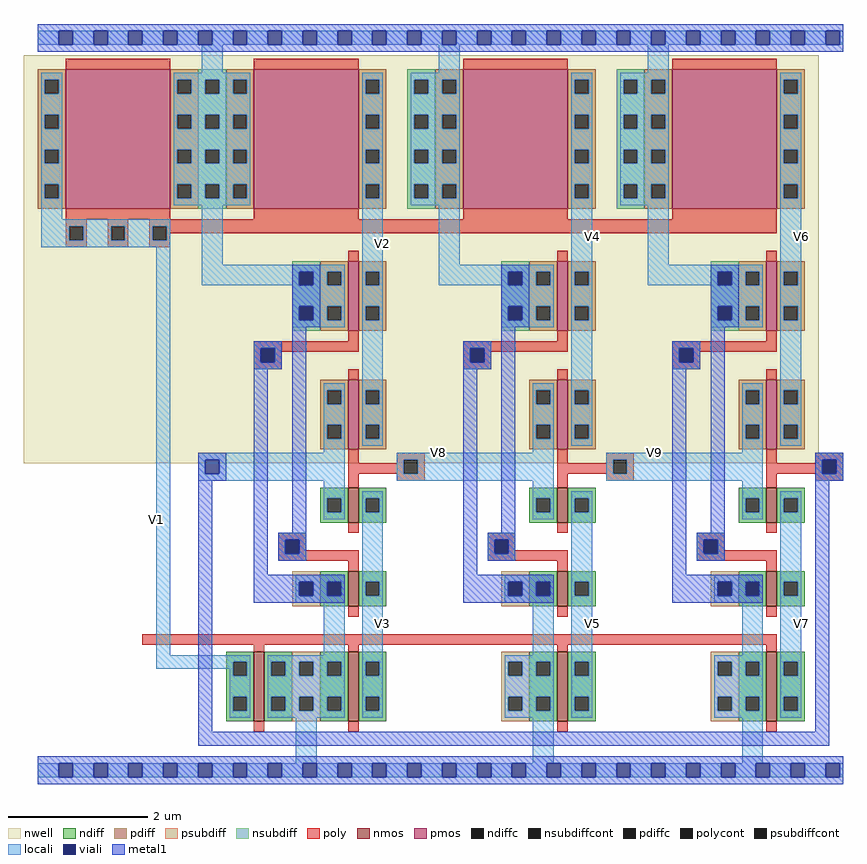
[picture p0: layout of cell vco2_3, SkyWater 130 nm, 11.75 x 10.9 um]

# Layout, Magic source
magic
tech sky130A
<< nwell >>
rect 1175 -5 2315 580
<< nmos >>
rect 1640 -90 1655 -40
rect 1940 -90 1955 -40
rect 2240 -90 2255 -40
rect 1640 -210 1655 -160
rect 1940 -210 1955 -160
rect 2240 -210 2255 -160
rect 1505 -375 1520 -275
rect 1640 -375 1655 -275
rect 1940 -375 1955 -275
rect 2240 -375 2255 -275
<< pmos >>
rect 1235 360 1385 560
rect 1505 360 1655 560
rect 1805 360 1955 560
rect 2105 360 2255 560
rect 1640 185 1655 285
rect 1940 185 1955 285
rect 2240 185 2255 285
rect 1640 15 1655 115
rect 1940 15 1955 115
rect 2240 15 2255 115
<< ndiff >>
rect 1600 -55 1640 -40
rect 1600 -75 1610 -55
rect 1630 -75 1640 -55
rect 1600 -90 1640 -75
rect 1655 -55 1695 -40
rect 1655 -75 1665 -55
rect 1685 -75 1695 -55
rect 1655 -90 1695 -75
rect 1900 -55 1940 -40
rect 1900 -75 1910 -55
rect 1930 -75 1940 -55
rect 1900 -90 1940 -75
rect 1955 -55 1995 -40
rect 1955 -75 1965 -55
rect 1985 -75 1995 -55
rect 1955 -90 1995 -75
rect 2200 -55 2240 -40
rect 2200 -75 2210 -55
rect 2230 -75 2240 -55
rect 2200 -90 2240 -75
rect 2255 -55 2295 -40
rect 2255 -75 2265 -55
rect 2285 -75 2295 -55
rect 2255 -90 2295 -75
rect 1600 -175 1640 -160
rect 1600 -195 1610 -175
rect 1630 -195 1640 -175
rect 1600 -210 1640 -195
rect 1655 -175 1695 -160
rect 1655 -195 1665 -175
rect 1685 -195 1695 -175
rect 1655 -210 1695 -195
rect 1900 -175 1940 -160
rect 1900 -195 1910 -175
rect 1930 -195 1940 -175
rect 1900 -210 1940 -195
rect 1955 -175 1995 -160
rect 1955 -195 1965 -175
rect 1985 -195 1995 -175
rect 1955 -210 1995 -195
rect 2200 -175 2240 -160
rect 2200 -195 2210 -175
rect 2230 -195 2240 -175
rect 2200 -210 2240 -195
rect 2255 -175 2295 -160
rect 2255 -195 2265 -175
rect 2285 -195 2295 -175
rect 2255 -210 2295 -195
rect 1465 -290 1505 -275
rect 1465 -310 1475 -290
rect 1495 -310 1505 -290
rect 1465 -340 1505 -310
rect 1465 -360 1475 -340
rect 1495 -360 1505 -340
rect 1465 -375 1505 -360
rect 1520 -290 1560 -275
rect 1600 -290 1640 -275
rect 1520 -310 1530 -290
rect 1550 -310 1560 -290
rect 1600 -310 1610 -290
rect 1630 -310 1640 -290
rect 1520 -340 1560 -310
rect 1600 -340 1640 -310
rect 1520 -360 1530 -340
rect 1550 -360 1560 -340
rect 1600 -360 1610 -340
rect 1630 -360 1640 -340
rect 1520 -375 1560 -360
rect 1600 -375 1640 -360
rect 1655 -290 1695 -275
rect 1655 -310 1665 -290
rect 1685 -310 1695 -290
rect 1655 -340 1695 -310
rect 1655 -360 1665 -340
rect 1685 -360 1695 -340
rect 1655 -375 1695 -360
rect 1900 -290 1940 -275
rect 1900 -310 1910 -290
rect 1930 -310 1940 -290
rect 1900 -340 1940 -310
rect 1900 -360 1910 -340
rect 1930 -360 1940 -340
rect 1900 -375 1940 -360
rect 1955 -290 1995 -275
rect 1955 -310 1965 -290
rect 1985 -310 1995 -290
rect 1955 -340 1995 -310
rect 1955 -360 1965 -340
rect 1985 -360 1995 -340
rect 1955 -375 1995 -360
rect 2200 -290 2240 -275
rect 2200 -310 2210 -290
rect 2230 -310 2240 -290
rect 2200 -340 2240 -310
rect 2200 -360 2210 -340
rect 2230 -360 2240 -340
rect 2200 -375 2240 -360
rect 2255 -290 2295 -275
rect 2255 -310 2265 -290
rect 2285 -310 2295 -290
rect 2255 -340 2295 -310
rect 2255 -360 2265 -340
rect 2285 -360 2295 -340
rect 2255 -375 2295 -360
<< pdiff >>
rect 1195 545 1235 560
rect 1195 525 1205 545
rect 1225 525 1235 545
rect 1195 495 1235 525
rect 1195 475 1205 495
rect 1225 475 1235 495
rect 1195 445 1235 475
rect 1195 425 1205 445
rect 1225 425 1235 445
rect 1195 395 1235 425
rect 1195 375 1205 395
rect 1225 375 1235 395
rect 1195 360 1235 375
rect 1385 545 1425 560
rect 1465 545 1505 560
rect 1385 525 1395 545
rect 1415 525 1425 545
rect 1465 525 1475 545
rect 1495 525 1505 545
rect 1385 495 1425 525
rect 1465 495 1505 525
rect 1385 475 1395 495
rect 1415 475 1425 495
rect 1465 475 1475 495
rect 1495 475 1505 495
rect 1385 445 1425 475
rect 1465 445 1505 475
rect 1385 425 1395 445
rect 1415 425 1425 445
rect 1465 425 1475 445
rect 1495 425 1505 445
rect 1385 395 1425 425
rect 1465 395 1505 425
rect 1385 375 1395 395
rect 1415 375 1425 395
rect 1465 375 1475 395
rect 1495 375 1505 395
rect 1385 360 1425 375
rect 1465 360 1505 375
rect 1655 545 1695 560
rect 1655 525 1665 545
rect 1685 525 1695 545
rect 1655 495 1695 525
rect 1655 475 1665 495
rect 1685 475 1695 495
rect 1655 445 1695 475
rect 1655 425 1665 445
rect 1685 425 1695 445
rect 1655 395 1695 425
rect 1655 375 1665 395
rect 1685 375 1695 395
rect 1655 360 1695 375
rect 1765 545 1805 560
rect 1765 525 1775 545
rect 1795 525 1805 545
rect 1765 495 1805 525
rect 1765 475 1775 495
rect 1795 475 1805 495
rect 1765 445 1805 475
rect 1765 425 1775 445
rect 1795 425 1805 445
rect 1765 395 1805 425
rect 1765 375 1775 395
rect 1795 375 1805 395
rect 1765 360 1805 375
rect 1955 545 1995 560
rect 1955 525 1965 545
rect 1985 525 1995 545
rect 1955 495 1995 525
rect 1955 475 1965 495
rect 1985 475 1995 495
rect 1955 445 1995 475
rect 1955 425 1965 445
rect 1985 425 1995 445
rect 1955 395 1995 425
rect 1955 375 1965 395
rect 1985 375 1995 395
rect 1955 360 1995 375
rect 2065 545 2105 560
rect 2065 525 2075 545
rect 2095 525 2105 545
rect 2065 495 2105 525
rect 2065 475 2075 495
rect 2095 475 2105 495
rect 2065 445 2105 475
rect 2065 425 2075 445
rect 2095 425 2105 445
rect 2065 395 2105 425
rect 2065 375 2075 395
rect 2095 375 2105 395
rect 2065 360 2105 375
rect 2255 545 2295 560
rect 2255 525 2265 545
rect 2285 525 2295 545
rect 2255 495 2295 525
rect 2255 475 2265 495
rect 2285 475 2295 495
rect 2255 445 2295 475
rect 2255 425 2265 445
rect 2285 425 2295 445
rect 2255 395 2295 425
rect 2255 375 2265 395
rect 2285 375 2295 395
rect 2255 360 2295 375
rect 1600 270 1640 285
rect 1600 250 1610 270
rect 1630 250 1640 270
rect 1600 220 1640 250
rect 1600 200 1610 220
rect 1630 200 1640 220
rect 1600 185 1640 200
rect 1655 270 1695 285
rect 1655 250 1665 270
rect 1685 250 1695 270
rect 1655 220 1695 250
rect 1655 200 1665 220
rect 1685 200 1695 220
rect 1655 185 1695 200
rect 1900 270 1940 285
rect 1900 250 1910 270
rect 1930 250 1940 270
rect 1900 220 1940 250
rect 1900 200 1910 220
rect 1930 200 1940 220
rect 1900 185 1940 200
rect 1955 270 1995 285
rect 1955 250 1965 270
rect 1985 250 1995 270
rect 1955 220 1995 250
rect 1955 200 1965 220
rect 1985 200 1995 220
rect 1955 185 1995 200
rect 2200 270 2240 285
rect 2200 250 2210 270
rect 2230 250 2240 270
rect 2200 220 2240 250
rect 2200 200 2210 220
rect 2230 200 2240 220
rect 2200 185 2240 200
rect 2255 270 2295 285
rect 2255 250 2265 270
rect 2285 250 2295 270
rect 2255 220 2295 250
rect 2255 200 2265 220
rect 2285 200 2295 220
rect 2255 185 2295 200
rect 1600 100 1640 115
rect 1600 80 1610 100
rect 1630 80 1640 100
rect 1600 50 1640 80
rect 1600 30 1610 50
rect 1630 30 1640 50
rect 1600 15 1640 30
rect 1655 100 1695 115
rect 1655 80 1665 100
rect 1685 80 1695 100
rect 1655 50 1695 80
rect 1655 30 1665 50
rect 1685 30 1695 50
rect 1655 15 1695 30
rect 1900 100 1940 115
rect 1900 80 1910 100
rect 1930 80 1940 100
rect 1900 50 1940 80
rect 1900 30 1910 50
rect 1930 30 1940 50
rect 1900 15 1940 30
rect 1955 100 1995 115
rect 1955 80 1965 100
rect 1985 80 1995 100
rect 1955 50 1995 80
rect 1955 30 1965 50
rect 1985 30 1995 50
rect 1955 15 1995 30
rect 2200 100 2240 115
rect 2200 80 2210 100
rect 2230 80 2240 100
rect 2200 50 2240 80
rect 2200 30 2210 50
rect 2230 30 2240 50
rect 2200 15 2240 30
rect 2255 100 2295 115
rect 2255 80 2265 100
rect 2285 80 2295 100
rect 2255 50 2295 80
rect 2255 30 2265 50
rect 2285 30 2295 50
rect 2255 15 2295 30
<< ndiffc >>
rect 1610 -75 1630 -55
rect 1665 -75 1685 -55
rect 1910 -75 1930 -55
rect 1965 -75 1985 -55
rect 2210 -75 2230 -55
rect 2265 -75 2285 -55
rect 1610 -195 1630 -175
rect 1665 -195 1685 -175
rect 1910 -195 1930 -175
rect 1965 -195 1985 -175
rect 2210 -195 2230 -175
rect 2265 -195 2285 -175
rect 1475 -310 1495 -290
rect 1475 -360 1495 -340
rect 1530 -310 1550 -290
rect 1610 -310 1630 -290
rect 1530 -360 1550 -340
rect 1610 -360 1630 -340
rect 1665 -310 1685 -290
rect 1665 -360 1685 -340
rect 1910 -310 1930 -290
rect 1910 -360 1930 -340
rect 1965 -310 1985 -290
rect 1965 -360 1985 -340
rect 2210 -310 2230 -290
rect 2210 -360 2230 -340
rect 2265 -310 2285 -290
rect 2265 -360 2285 -340
<< pdiffc >>
rect 1205 525 1225 545
rect 1205 475 1225 495
rect 1205 425 1225 445
rect 1205 375 1225 395
rect 1395 525 1415 545
rect 1475 525 1495 545
rect 1395 475 1415 495
rect 1475 475 1495 495
rect 1395 425 1415 445
rect 1475 425 1495 445
rect 1395 375 1415 395
rect 1475 375 1495 395
rect 1665 525 1685 545
rect 1665 475 1685 495
rect 1665 425 1685 445
rect 1665 375 1685 395
rect 1775 525 1795 545
rect 1775 475 1795 495
rect 1775 425 1795 445
rect 1775 375 1795 395
rect 1965 525 1985 545
rect 1965 475 1985 495
rect 1965 425 1985 445
rect 1965 375 1985 395
rect 2075 525 2095 545
rect 2075 475 2095 495
rect 2075 425 2095 445
rect 2075 375 2095 395
rect 2265 525 2285 545
rect 2265 475 2285 495
rect 2265 425 2285 445
rect 2265 375 2285 395
rect 1610 250 1630 270
rect 1610 200 1630 220
rect 1665 250 1685 270
rect 1665 200 1685 220
rect 1910 250 1930 270
rect 1910 200 1930 220
rect 1965 250 1985 270
rect 1965 200 1985 220
rect 2210 250 2230 270
rect 2210 200 2230 220
rect 2265 250 2285 270
rect 2265 200 2285 220
rect 1610 80 1630 100
rect 1610 30 1630 50
rect 1665 80 1685 100
rect 1665 30 1685 50
rect 1910 80 1930 100
rect 1910 30 1930 50
rect 1965 80 1985 100
rect 1965 30 1985 50
rect 2210 80 2230 100
rect 2210 30 2230 50
rect 2265 80 2285 100
rect 2265 30 2285 50
<< psubdiff >>
rect 1560 -175 1600 -160
rect 1560 -195 1570 -175
rect 1590 -195 1600 -175
rect 1560 -210 1600 -195
rect 1860 -175 1900 -160
rect 1860 -195 1870 -175
rect 1890 -195 1900 -175
rect 1860 -210 1900 -195
rect 2160 -175 2200 -160
rect 2160 -195 2170 -175
rect 2190 -195 2200 -175
rect 2160 -210 2200 -195
rect 1560 -290 1600 -275
rect 1560 -310 1570 -290
rect 1590 -310 1600 -290
rect 1560 -340 1600 -310
rect 1560 -360 1570 -340
rect 1590 -360 1600 -340
rect 1560 -375 1600 -360
rect 1860 -290 1900 -275
rect 1860 -310 1870 -290
rect 1890 -310 1900 -290
rect 1860 -340 1900 -310
rect 1860 -360 1870 -340
rect 1890 -360 1900 -340
rect 1860 -375 1900 -360
rect 2160 -290 2200 -275
rect 2160 -310 2170 -290
rect 2190 -310 2200 -290
rect 2160 -340 2200 -310
rect 2160 -360 2170 -340
rect 2190 -360 2200 -340
rect 2160 -375 2200 -360
<< nsubdiff >>
rect 1425 545 1465 560
rect 1425 525 1435 545
rect 1455 525 1465 545
rect 1425 495 1465 525
rect 1425 475 1435 495
rect 1455 475 1465 495
rect 1425 445 1465 475
rect 1425 425 1435 445
rect 1455 425 1465 445
rect 1425 395 1465 425
rect 1425 375 1435 395
rect 1455 375 1465 395
rect 1425 360 1465 375
rect 1725 545 1765 560
rect 1725 525 1735 545
rect 1755 525 1765 545
rect 1725 495 1765 525
rect 1725 475 1735 495
rect 1755 475 1765 495
rect 1725 445 1765 475
rect 1725 425 1735 445
rect 1755 425 1765 445
rect 1725 395 1765 425
rect 1725 375 1735 395
rect 1755 375 1765 395
rect 1725 360 1765 375
rect 2025 545 2065 560
rect 2025 525 2035 545
rect 2055 525 2065 545
rect 2025 495 2065 525
rect 2025 475 2035 495
rect 2055 475 2065 495
rect 2025 445 2065 475
rect 2025 425 2035 445
rect 2055 425 2065 445
rect 2025 395 2065 425
rect 2025 375 2035 395
rect 2055 375 2065 395
rect 2025 360 2065 375
rect 1560 270 1600 285
rect 1560 250 1570 270
rect 1590 250 1600 270
rect 1560 220 1600 250
rect 1560 200 1570 220
rect 1590 200 1600 220
rect 1560 185 1600 200
rect 1860 270 1900 285
rect 1860 250 1870 270
rect 1890 250 1900 270
rect 1860 220 1900 250
rect 1860 200 1870 220
rect 1890 200 1900 220
rect 1860 185 1900 200
rect 2160 270 2200 285
rect 2160 250 2170 270
rect 2190 250 2200 270
rect 2160 220 2200 250
rect 2160 200 2170 220
rect 2190 200 2200 220
rect 2160 185 2200 200
<< psubdiffcont >>
rect 1570 -195 1590 -175
rect 1870 -195 1890 -175
rect 2170 -195 2190 -175
rect 1570 -310 1590 -290
rect 1570 -360 1590 -340
rect 1870 -310 1890 -290
rect 1870 -360 1890 -340
rect 2170 -310 2190 -290
rect 2170 -360 2190 -340
<< nsubdiffcont >>
rect 1435 525 1455 545
rect 1435 475 1455 495
rect 1435 425 1455 445
rect 1435 375 1455 395
rect 1735 525 1755 545
rect 1735 475 1755 495
rect 1735 425 1755 445
rect 1735 375 1755 395
rect 2035 525 2055 545
rect 2035 475 2055 495
rect 2035 425 2055 445
rect 2035 375 2055 395
rect 1570 250 1590 270
rect 1570 200 1590 220
rect 1870 250 1890 270
rect 1870 200 1890 220
rect 2170 250 2190 270
rect 2170 200 2190 220
<< poly >>
rect 1235 560 1385 575
rect 1505 560 1655 575
rect 1805 560 1955 575
rect 2105 560 2255 575
rect 1235 345 1385 360
rect 1505 345 1655 360
rect 1805 345 1955 360
rect 2105 345 2255 360
rect 1235 335 1265 345
rect 1235 315 1240 335
rect 1260 315 1265 335
rect 1235 305 1265 315
rect 1295 335 1325 345
rect 1295 315 1300 335
rect 1320 315 1325 335
rect 1295 305 1325 315
rect 1355 335 2255 345
rect 1355 315 1360 335
rect 1380 325 2255 335
rect 1380 315 1385 325
rect 1355 305 1385 315
rect 1640 285 1655 300
rect 1940 285 1955 300
rect 2240 285 2255 300
rect 1640 170 1655 185
rect 1940 170 1955 185
rect 2240 170 2255 185
rect 1505 160 1655 170
rect 1505 140 1515 160
rect 1535 155 1655 160
rect 1805 160 1955 170
rect 1535 140 1545 155
rect 1505 130 1545 140
rect 1805 140 1815 160
rect 1835 155 1955 160
rect 2105 160 2255 170
rect 1835 140 1845 155
rect 1805 130 1845 140
rect 2105 140 2115 160
rect 2135 155 2255 160
rect 2135 140 2145 155
rect 2105 130 2145 140
rect 1640 115 1655 130
rect 1940 115 1955 130
rect 2240 115 2255 130
rect 1640 -5 1655 15
rect 1710 0 1750 10
rect 1710 -5 1720 0
rect 1640 -20 1720 -5
rect 1740 -20 1750 0
rect 1640 -40 1655 -20
rect 1710 -30 1750 -20
rect 1940 -5 1955 15
rect 2010 0 2050 10
rect 2010 -5 2020 0
rect 1940 -20 2020 -5
rect 2040 -20 2050 0
rect 1940 -40 1955 -20
rect 2010 -30 2050 -20
rect 2240 -5 2255 15
rect 2310 0 2350 10
rect 2310 -5 2320 0
rect 2240 -20 2320 -5
rect 2340 -20 2350 0
rect 2240 -40 2255 -20
rect 2310 -30 2350 -20
rect 1640 -105 1655 -90
rect 1940 -105 1955 -90
rect 2240 -105 2255 -90
rect 1540 -115 1580 -105
rect 1540 -135 1550 -115
rect 1570 -130 1580 -115
rect 1840 -115 1880 -105
rect 1570 -135 1655 -130
rect 1540 -145 1655 -135
rect 1840 -135 1850 -115
rect 1870 -130 1880 -115
rect 2140 -115 2180 -105
rect 1870 -135 1955 -130
rect 1840 -145 1955 -135
rect 2140 -135 2150 -115
rect 2170 -130 2180 -115
rect 2170 -135 2255 -130
rect 2140 -145 2255 -135
rect 1640 -160 1655 -145
rect 1940 -160 1955 -145
rect 2240 -160 2255 -145
rect 1640 -225 1655 -210
rect 1940 -225 1955 -210
rect 2240 -225 2255 -210
rect 1345 -265 2255 -250
rect 1505 -275 1520 -265
rect 1640 -275 1655 -265
rect 1940 -275 1955 -265
rect 2240 -275 2255 -265
rect 1505 -390 1520 -375
rect 1640 -390 1655 -375
rect 1940 -390 1955 -375
rect 2240 -390 2255 -375
<< polycont >>
rect 1240 315 1260 335
rect 1300 315 1320 335
rect 1360 315 1380 335
rect 1515 140 1535 160
rect 1815 140 1835 160
rect 2115 140 2135 160
rect 1720 -20 1740 0
rect 2020 -20 2040 0
rect 2320 -20 2340 0
rect 1550 -135 1570 -115
rect 1850 -135 1870 -115
rect 2150 -135 2170 -115
<< locali >>
rect 1195 595 1225 615
rect 1245 595 1275 615
rect 1295 595 1325 615
rect 1345 595 1375 615
rect 1395 595 1425 615
rect 1445 595 1475 615
rect 1495 595 1525 615
rect 1545 595 1575 615
rect 1595 595 1625 615
rect 1645 595 1675 615
rect 1695 595 1725 615
rect 1745 595 1775 615
rect 1795 595 1825 615
rect 1845 595 1875 615
rect 1895 595 1925 615
rect 1945 595 1975 615
rect 1995 595 2025 615
rect 2045 595 2075 615
rect 2095 595 2125 615
rect 2145 595 2175 615
rect 2195 595 2225 615
rect 2245 595 2275 615
rect 2295 595 2325 615
rect 2345 595 2350 615
rect 1430 555 1460 595
rect 1770 555 1800 595
rect 2070 555 2100 595
rect 1200 545 1230 555
rect 1200 525 1205 545
rect 1225 525 1230 545
rect 1200 495 1230 525
rect 1200 475 1205 495
rect 1225 475 1230 495
rect 1200 445 1230 475
rect 1200 425 1205 445
rect 1225 425 1230 445
rect 1200 395 1230 425
rect 1200 375 1205 395
rect 1225 375 1230 395
rect 1200 345 1230 375
rect 1390 545 1500 555
rect 1390 525 1395 545
rect 1415 525 1435 545
rect 1455 525 1475 545
rect 1495 525 1500 545
rect 1390 495 1500 525
rect 1390 475 1395 495
rect 1415 475 1435 495
rect 1455 475 1475 495
rect 1495 475 1500 495
rect 1390 445 1500 475
rect 1390 425 1395 445
rect 1415 425 1435 445
rect 1455 425 1475 445
rect 1495 425 1500 445
rect 1390 395 1500 425
rect 1390 375 1395 395
rect 1415 375 1435 395
rect 1455 375 1475 395
rect 1495 375 1500 395
rect 1390 365 1500 375
rect 1660 545 1690 555
rect 1660 525 1665 545
rect 1685 525 1690 545
rect 1660 495 1690 525
rect 1660 475 1665 495
rect 1685 475 1690 495
rect 1660 445 1690 475
rect 1660 425 1665 445
rect 1685 425 1690 445
rect 1660 395 1690 425
rect 1660 375 1665 395
rect 1685 375 1690 395
rect 1200 335 1385 345
rect 1200 315 1240 335
rect 1260 315 1300 335
rect 1320 315 1360 335
rect 1380 315 1385 335
rect 1200 305 1385 315
rect 1365 -280 1385 305
rect 1430 280 1460 365
rect 1430 270 1635 280
rect 1430 250 1570 270
rect 1590 250 1610 270
rect 1630 250 1635 270
rect 1560 220 1635 250
rect 1560 200 1570 220
rect 1590 200 1610 220
rect 1630 200 1635 220
rect 1560 190 1635 200
rect 1660 270 1690 375
rect 1730 545 1800 555
rect 1730 525 1735 545
rect 1755 525 1775 545
rect 1795 525 1800 545
rect 1730 495 1800 525
rect 1730 475 1735 495
rect 1755 475 1775 495
rect 1795 475 1800 495
rect 1730 445 1800 475
rect 1730 425 1735 445
rect 1755 425 1775 445
rect 1795 425 1800 445
rect 1730 395 1800 425
rect 1730 375 1735 395
rect 1755 375 1775 395
rect 1795 375 1800 395
rect 1730 365 1800 375
rect 1660 250 1665 270
rect 1685 250 1690 270
rect 1770 280 1800 365
rect 1960 545 1990 555
rect 1960 525 1965 545
rect 1985 525 1990 545
rect 1960 495 1990 525
rect 1960 475 1965 495
rect 1985 475 1990 495
rect 1960 445 1990 475
rect 1960 425 1965 445
rect 1985 425 1990 445
rect 1960 395 1990 425
rect 1960 375 1965 395
rect 1985 375 1990 395
rect 1770 270 1935 280
rect 1770 250 1870 270
rect 1890 250 1910 270
rect 1930 250 1935 270
rect 1660 220 1690 250
rect 1660 200 1665 220
rect 1685 200 1690 220
rect 1505 160 1545 170
rect 1505 140 1515 160
rect 1535 140 1545 160
rect 1505 130 1545 140
rect 1605 100 1635 110
rect 1605 80 1610 100
rect 1630 80 1635 100
rect 1605 50 1635 80
rect 1605 30 1610 50
rect 1630 30 1635 50
rect 1605 10 1635 30
rect 1660 100 1690 200
rect 1860 220 1935 250
rect 1860 200 1870 220
rect 1890 200 1910 220
rect 1930 200 1935 220
rect 1860 190 1935 200
rect 1960 270 1990 375
rect 2030 545 2100 555
rect 2030 525 2035 545
rect 2055 525 2075 545
rect 2095 525 2100 545
rect 2030 495 2100 525
rect 2030 475 2035 495
rect 2055 475 2075 495
rect 2095 475 2100 495
rect 2030 445 2100 475
rect 2030 425 2035 445
rect 2055 425 2075 445
rect 2095 425 2100 445
rect 2030 395 2100 425
rect 2030 375 2035 395
rect 2055 375 2075 395
rect 2095 375 2100 395
rect 2030 365 2100 375
rect 1960 250 1965 270
rect 1985 250 1990 270
rect 2070 280 2100 365
rect 2260 545 2290 555
rect 2260 525 2265 545
rect 2285 525 2290 545
rect 2260 495 2290 525
rect 2260 475 2265 495
rect 2285 475 2290 495
rect 2260 445 2290 475
rect 2260 425 2265 445
rect 2285 425 2290 445
rect 2260 395 2290 425
rect 2260 375 2265 395
rect 2285 375 2290 395
rect 2070 270 2235 280
rect 2070 250 2170 270
rect 2190 250 2210 270
rect 2230 250 2235 270
rect 1960 220 1990 250
rect 1960 200 1965 220
rect 1985 200 1990 220
rect 1805 160 1845 170
rect 1805 140 1815 160
rect 1835 140 1845 160
rect 1805 130 1845 140
rect 1660 80 1665 100
rect 1685 80 1690 100
rect 1660 50 1690 80
rect 1660 30 1665 50
rect 1685 30 1690 50
rect 1660 20 1690 30
rect 1905 100 1935 110
rect 1905 80 1910 100
rect 1930 80 1935 100
rect 1905 50 1935 80
rect 1905 30 1910 50
rect 1930 30 1935 50
rect 1905 10 1935 30
rect 1960 100 1990 200
rect 2160 220 2235 250
rect 2160 200 2170 220
rect 2190 200 2210 220
rect 2230 200 2235 220
rect 2160 190 2235 200
rect 2260 270 2290 375
rect 2260 250 2265 270
rect 2285 250 2290 270
rect 2260 220 2290 250
rect 2260 200 2265 220
rect 2285 200 2290 220
rect 2105 160 2145 170
rect 2105 140 2115 160
rect 2135 140 2145 160
rect 2105 130 2145 140
rect 1960 80 1965 100
rect 1985 80 1990 100
rect 1960 50 1990 80
rect 1960 30 1965 50
rect 1985 30 1990 50
rect 1960 20 1990 30
rect 2205 100 2235 110
rect 2205 80 2210 100
rect 2230 80 2235 100
rect 2205 50 2235 80
rect 2205 30 2210 50
rect 2230 30 2235 50
rect 2205 10 2235 30
rect 2260 100 2290 200
rect 2260 80 2265 100
rect 2285 80 2290 100
rect 2260 50 2290 80
rect 2260 30 2265 50
rect 2285 30 2290 50
rect 2260 20 2290 30
rect 1425 0 1635 10
rect 1425 -20 1435 0
rect 1455 -20 1635 0
rect 1425 -30 1635 -20
rect 1710 0 1935 10
rect 1710 -20 1720 0
rect 1740 -20 1935 0
rect 1710 -30 1935 -20
rect 2010 0 2235 10
rect 2010 -20 2020 0
rect 2040 -20 2235 0
rect 2010 -30 2235 -20
rect 2310 0 2350 10
rect 2310 -20 2320 0
rect 2340 -20 2350 0
rect 2310 -30 2350 -20
rect 1605 -55 1635 -30
rect 1605 -75 1610 -55
rect 1630 -75 1635 -55
rect 1605 -85 1635 -75
rect 1660 -55 1690 -45
rect 1660 -75 1665 -55
rect 1685 -75 1690 -55
rect 1540 -115 1580 -105
rect 1540 -135 1550 -115
rect 1570 -135 1580 -115
rect 1540 -145 1580 -135
rect 1565 -175 1635 -165
rect 1565 -195 1570 -175
rect 1590 -195 1610 -175
rect 1630 -195 1635 -175
rect 1565 -205 1635 -195
rect 1605 -280 1635 -205
rect 1365 -290 1500 -280
rect 1365 -300 1475 -290
rect 1470 -310 1475 -300
rect 1495 -310 1500 -290
rect 1470 -340 1500 -310
rect 1470 -360 1475 -340
rect 1495 -360 1500 -340
rect 1470 -370 1500 -360
rect 1525 -290 1635 -280
rect 1525 -310 1530 -290
rect 1550 -310 1570 -290
rect 1590 -310 1610 -290
rect 1630 -310 1635 -290
rect 1525 -340 1635 -310
rect 1525 -360 1530 -340
rect 1550 -360 1570 -340
rect 1590 -360 1610 -340
rect 1630 -360 1635 -340
rect 1525 -370 1635 -360
rect 1660 -175 1690 -75
rect 1905 -55 1935 -30
rect 1905 -75 1910 -55
rect 1930 -75 1935 -55
rect 1905 -85 1935 -75
rect 1960 -55 1990 -45
rect 1960 -75 1965 -55
rect 1985 -75 1990 -55
rect 1840 -115 1880 -105
rect 1840 -135 1850 -115
rect 1870 -135 1880 -115
rect 1840 -145 1880 -135
rect 1660 -195 1665 -175
rect 1685 -195 1690 -175
rect 1660 -290 1690 -195
rect 1865 -175 1935 -165
rect 1865 -195 1870 -175
rect 1890 -195 1910 -175
rect 1930 -195 1935 -175
rect 1865 -205 1935 -195
rect 1905 -280 1935 -205
rect 1660 -310 1665 -290
rect 1685 -310 1690 -290
rect 1660 -340 1690 -310
rect 1660 -360 1665 -340
rect 1685 -360 1690 -340
rect 1660 -370 1690 -360
rect 1865 -290 1935 -280
rect 1865 -310 1870 -290
rect 1890 -310 1910 -290
rect 1930 -310 1935 -290
rect 1865 -340 1935 -310
rect 1865 -360 1870 -340
rect 1890 -360 1910 -340
rect 1930 -360 1935 -340
rect 1865 -370 1935 -360
rect 1960 -175 1990 -75
rect 2205 -55 2235 -30
rect 2205 -75 2210 -55
rect 2230 -75 2235 -55
rect 2205 -85 2235 -75
rect 2260 -55 2290 -45
rect 2260 -75 2265 -55
rect 2285 -75 2290 -55
rect 2140 -115 2180 -105
rect 2140 -135 2150 -115
rect 2170 -135 2180 -115
rect 2140 -145 2180 -135
rect 1960 -195 1965 -175
rect 1985 -195 1990 -175
rect 1960 -290 1990 -195
rect 2165 -175 2235 -165
rect 2165 -195 2170 -175
rect 2190 -195 2210 -175
rect 2230 -195 2235 -175
rect 2165 -205 2235 -195
rect 2205 -280 2235 -205
rect 1960 -310 1965 -290
rect 1985 -310 1990 -290
rect 1960 -340 1990 -310
rect 1960 -360 1965 -340
rect 1985 -360 1990 -340
rect 1960 -370 1990 -360
rect 2165 -290 2235 -280
rect 2165 -310 2170 -290
rect 2190 -310 2210 -290
rect 2230 -310 2235 -290
rect 2165 -340 2235 -310
rect 2165 -360 2170 -340
rect 2190 -360 2210 -340
rect 2230 -360 2235 -340
rect 2165 -370 2235 -360
rect 2260 -175 2290 -75
rect 2260 -195 2265 -175
rect 2285 -195 2290 -175
rect 2260 -290 2290 -195
rect 2260 -310 2265 -290
rect 2285 -310 2290 -290
rect 2260 -340 2290 -310
rect 2260 -360 2265 -340
rect 2285 -360 2290 -340
rect 2260 -370 2290 -360
rect 1565 -435 1595 -370
rect 1905 -435 1935 -370
rect 2205 -435 2235 -370
rect 1195 -455 1225 -435
rect 1245 -455 1275 -435
rect 1295 -455 1325 -435
rect 1345 -455 1375 -435
rect 1395 -455 1425 -435
rect 1445 -455 1475 -435
rect 1495 -455 1525 -435
rect 1545 -455 1575 -435
rect 1595 -455 1625 -435
rect 1645 -455 1675 -435
rect 1695 -455 1725 -435
rect 1745 -455 1775 -435
rect 1795 -455 1825 -435
rect 1845 -455 1875 -435
rect 1895 -455 1925 -435
rect 1945 -455 1975 -435
rect 1995 -455 2025 -435
rect 2045 -455 2075 -435
rect 2095 -455 2125 -435
rect 2145 -455 2175 -435
rect 2195 -455 2225 -435
rect 2245 -455 2275 -435
rect 2295 -455 2325 -435
rect 2345 -455 2350 -435
<< viali >>
rect 1225 595 1245 615
rect 1275 595 1295 615
rect 1325 595 1345 615
rect 1375 595 1395 615
rect 1425 595 1445 615
rect 1475 595 1495 615
rect 1525 595 1545 615
rect 1575 595 1595 615
rect 1625 595 1645 615
rect 1675 595 1695 615
rect 1725 595 1745 615
rect 1775 595 1795 615
rect 1825 595 1845 615
rect 1875 595 1895 615
rect 1925 595 1945 615
rect 1975 595 1995 615
rect 2025 595 2045 615
rect 2075 595 2095 615
rect 2125 595 2145 615
rect 2175 595 2195 615
rect 2225 595 2245 615
rect 2275 595 2295 615
rect 2325 595 2345 615
rect 1570 250 1590 270
rect 1570 200 1590 220
rect 1870 250 1890 270
rect 1515 140 1535 160
rect 1870 200 1890 220
rect 2170 250 2190 270
rect 1815 140 1835 160
rect 2170 200 2190 220
rect 2115 140 2135 160
rect 1435 -20 1455 0
rect 2320 -20 2340 0
rect 1550 -135 1570 -115
rect 1570 -195 1590 -175
rect 1610 -195 1630 -175
rect 1850 -135 1870 -115
rect 1870 -195 1890 -175
rect 1910 -195 1930 -175
rect 2150 -135 2170 -115
rect 2170 -195 2190 -175
rect 2210 -195 2230 -175
rect 1225 -455 1245 -435
rect 1275 -455 1295 -435
rect 1325 -455 1345 -435
rect 1375 -455 1395 -435
rect 1425 -455 1445 -435
rect 1475 -455 1495 -435
rect 1525 -455 1545 -435
rect 1575 -455 1595 -435
rect 1625 -455 1645 -435
rect 1675 -455 1695 -435
rect 1725 -455 1745 -435
rect 1775 -455 1795 -435
rect 1825 -455 1845 -435
rect 1875 -455 1895 -435
rect 1925 -455 1945 -435
rect 1975 -455 1995 -435
rect 2025 -455 2045 -435
rect 2075 -455 2095 -435
rect 2125 -455 2145 -435
rect 2175 -455 2195 -435
rect 2225 -455 2245 -435
rect 2275 -455 2295 -435
rect 2325 -455 2345 -435
<< metal1 >>
rect 1195 615 2350 625
rect 1195 595 1225 615
rect 1245 595 1275 615
rect 1295 595 1325 615
rect 1345 595 1375 615
rect 1395 595 1425 615
rect 1445 595 1475 615
rect 1495 595 1525 615
rect 1545 595 1575 615
rect 1595 595 1625 615
rect 1645 595 1675 615
rect 1695 595 1725 615
rect 1745 595 1775 615
rect 1795 595 1825 615
rect 1845 595 1875 615
rect 1895 595 1925 615
rect 1945 595 1975 615
rect 1995 595 2025 615
rect 2045 595 2075 615
rect 2095 595 2125 615
rect 2145 595 2175 615
rect 2195 595 2225 615
rect 2245 595 2275 615
rect 2295 595 2325 615
rect 2345 595 2350 615
rect 1195 585 2350 595
rect 1560 270 1600 280
rect 1560 250 1570 270
rect 1590 250 1600 270
rect 1560 220 1600 250
rect 1560 200 1570 220
rect 1590 200 1600 220
rect 1560 190 1600 200
rect 1860 270 1900 280
rect 1860 250 1870 270
rect 1890 250 1900 270
rect 1860 220 1900 250
rect 1860 200 1870 220
rect 1890 200 1900 220
rect 1860 190 1900 200
rect 2160 270 2200 280
rect 2160 250 2170 270
rect 2190 250 2200 270
rect 2160 220 2200 250
rect 2160 200 2170 220
rect 2190 200 2200 220
rect 2160 190 2200 200
rect 1505 160 1545 170
rect 1505 140 1515 160
rect 1535 140 1545 160
rect 1505 130 1545 140
rect 1425 0 1465 10
rect 1425 -20 1435 0
rect 1455 -20 1465 0
rect 1425 -30 1465 -20
rect 1425 -390 1445 -30
rect 1505 -165 1525 130
rect 1560 -105 1580 190
rect 1540 -115 1580 -105
rect 1540 -135 1550 -115
rect 1570 -135 1580 -115
rect 1540 -145 1580 -135
rect 1805 160 1845 170
rect 1805 140 1815 160
rect 1835 140 1845 160
rect 1805 130 1845 140
rect 1805 -165 1825 130
rect 1860 -105 1880 190
rect 1840 -115 1880 -105
rect 1840 -135 1850 -115
rect 1870 -135 1880 -115
rect 1840 -145 1880 -135
rect 2105 160 2145 170
rect 2105 140 2115 160
rect 2135 140 2145 160
rect 2105 130 2145 140
rect 2105 -165 2125 130
rect 2160 -105 2180 190
rect 2140 -115 2180 -105
rect 2140 -135 2150 -115
rect 2170 -135 2180 -115
rect 2140 -145 2180 -135
rect 2310 0 2350 10
rect 2310 -20 2320 0
rect 2340 -20 2350 0
rect 2310 -30 2350 -20
rect 1505 -175 1635 -165
rect 1505 -195 1570 -175
rect 1590 -195 1610 -175
rect 1630 -195 1635 -175
rect 1505 -205 1635 -195
rect 1805 -175 1935 -165
rect 1805 -195 1870 -175
rect 1890 -195 1910 -175
rect 1930 -195 1935 -175
rect 1805 -205 1935 -195
rect 2105 -175 2235 -165
rect 2105 -195 2170 -175
rect 2190 -195 2210 -175
rect 2230 -195 2235 -175
rect 2105 -205 2235 -195
rect 2310 -390 2330 -30
rect 1425 -410 2330 -390
rect 1195 -435 2350 -425
rect 1195 -455 1225 -435
rect 1245 -455 1275 -435
rect 1295 -455 1325 -435
rect 1345 -455 1375 -435
rect 1395 -455 1425 -435
rect 1445 -455 1475 -435
rect 1495 -455 1525 -435
rect 1545 -455 1575 -435
rect 1595 -455 1625 -435
rect 1645 -455 1675 -435
rect 1695 -455 1725 -435
rect 1745 -455 1775 -435
rect 1795 -455 1825 -435
rect 1845 -455 1875 -435
rect 1895 -455 1925 -435
rect 1945 -455 1975 -435
rect 1995 -455 2025 -435
rect 2045 -455 2075 -435
rect 2095 -455 2125 -435
rect 2145 -455 2175 -435
rect 2195 -455 2225 -435
rect 2245 -455 2275 -435
rect 2295 -455 2325 -435
rect 2345 -455 2350 -435
rect 1195 -465 2350 -455
<< labels >>
flabel locali 1770 10 1770 10 1 FreeSans 400 0 0 200 V8
flabel locali 2080 10 2080 10 1 FreeSans 400 0 0 200 V9
flabel locali 1690 310 1690 310 3 FreeSans 400 0 200 0 V2
flabel locali 1690 -235 1690 -235 3 FreeSans 400 0 200 0 V3
flabel locali 1990 320 1990 320 3 FreeSans 400 0 200 0 V4
flabel locali 1990 -235 1990 -235 3 FreeSans 400 0 200 0 V5
flabel locali 2290 320 2290 320 3 FreeSans 400 0 200 0 V6
flabel locali 2290 -235 2290 -235 3 FreeSans 400 0 200 0 V7
flabel locali 1365 -85 1365 -85 7 FreeSans 400 0 -200 0 V1
<< end >>
